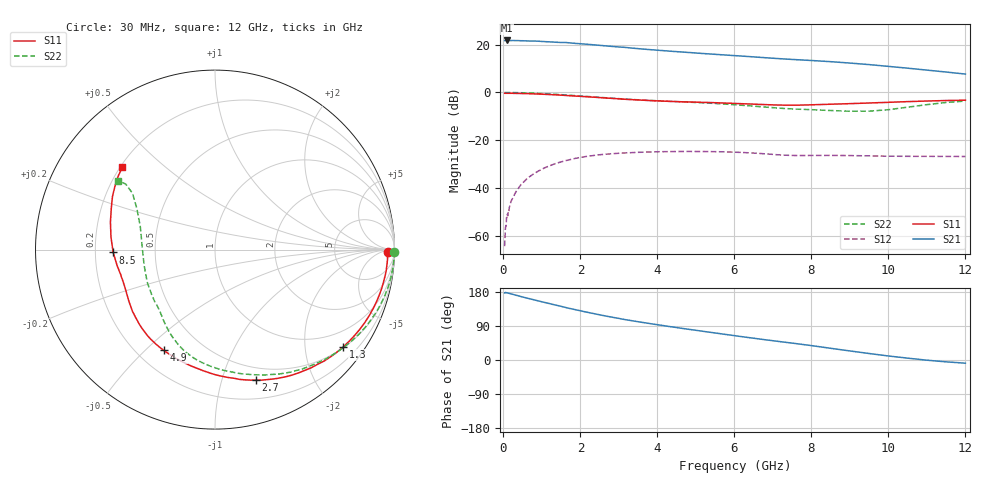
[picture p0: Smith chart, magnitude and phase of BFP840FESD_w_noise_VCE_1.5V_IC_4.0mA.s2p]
! Infineon Technologies  Discrete & RF Semiconductors
! BFP840FESD
! VCE =  1.5 V,  IC =  4.0 mA
! Common Emitter S-Parameters:  May 2012
# GHz  S  MA  R  50
!  f  S11  S21  S12  S22
! GHz  MAG  ANG  MAG  ANG  MAG  ANG  MAG  ANG
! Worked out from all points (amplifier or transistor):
!   103 points, 30 MHz to 12 GHz, reference 50 ohm
!   highest |S21| = 21.8 dB at 100 MHz (marker M1)
!   |S21| within 3 dB of that: start of sweep to 3.214 GHz
!   unconditionally stable (mu >= 1): 7.241 GHz to end of sweep
!   at 400 MHz: K = 0.03, MSG = 30.8 dB, |S12| = -39.9 dB
!   at 3.7 GHz: K = 0.31, MSG = 21.6 dB, |S12| = -25.0 dB
!   at 12 GHz: K = 1.33, MAG = 13.9 dB, |S12| = -26.8 dB
!   lowest NFmin = 0.53 dB at 450 MHz
!   S11 on the Smith chart (normalised r, x): 30 MHz: 47, -17; 1.3 GHz: 0.52, -2.90; 2.7 GHz: 0.37, -1.30; 4.9 GHz: 0.31, -0.57; 8.5 GHz: 0.28, -0.01; 12 GHz: 0.21, +0.37
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0.03  0.9631 -0.8  12.24 177.1  0.0006 104.8  0.9969 -0.7
0.04  0.9629 -1.1  12.24 176.9  0.0009 95.3  0.9975 -0.9
0.05  0.963 -1.5  12.3 178.2  0.0014 71.0  0.9985 -1.1
0.1  0.9625 -2.9  12.33 177.1  0.0028 95.2  0.9975 -2.5
0.35  0.9569 -10.2  12.25 170.3  0.009 83.2  0.9926 -8.8
0.8  0.9348 -23.2  12 158.6  0.02 73.1  0.9669 -20.1
1.3  0.897 -37.1  11.41 146.2  0.0312 62.8  0.9221 -32.4
1.6  0.8689 -45.6  11.21 139.0  0.037 56.8  0.8895 -39.7
2.1  0.8206 -58.4  10.37 127.6  0.0449 47.1  0.8336 -51.6
2.7  0.7621 -72.5  9.424 115.2  0.0511 37.0  0.7704 -64.4
3.1  0.725 -81.5  8.901 107.7  0.0537 31.7  0.734 -71.9
3.4  0.7043 -87.6  8.443 102.6  0.0552 27.9  0.71 -77.3
4.1  0.6621 -101.5  7.594 91.6  0.0574 20.7  0.6654 -88.2
4.9  0.63 -117.0  6.823 79.8  0.058 13.8  0.6229 -99.4
5.5  0.6109 -127.4  6.313 71.3  0.0575 9.2  0.5885 -107.1
6.1  0.5854 -137.8  5.872 62.8  0.0557 5.2  0.5468 -115.0
7.2  0.5447 -156.9  5.101 48.3  0.0491 2.0  0.468 -130.1
8.5  0.5676 -178.4  4.429 30.9  0.048 5.1  0.4188 -154.5
9.5  0.6026 165.2  3.843 17.1  0.0469 5.6  0.4064 177.4
10.5  0.6437 152.5  3.233 4.9  0.0459 8.1  0.4923 152.2
11  0.6624 147.0  2.946 -0.5  0.0458 9.6  0.556 145.7
12  0.6897 138.4  2.435 -8.4  0.0455 13.9  0.6611 144.7
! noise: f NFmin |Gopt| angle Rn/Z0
0.45  0.53  0.56  6  0.19
0.9  0.57  0.54  13  0.19
1.5  0.61  0.49  19  0.19
1.9  0.62  0.45  28  0.19
2.4  0.64  0.43  34  0.19
3.5  0.66  0.41  54  0.18
5.5  0.76  0.29  90  0.13
8  0.95  0.24  149  0.11
10  1.14  0.28  -158  0.1
12  1.34  0.45  -129  0.13
